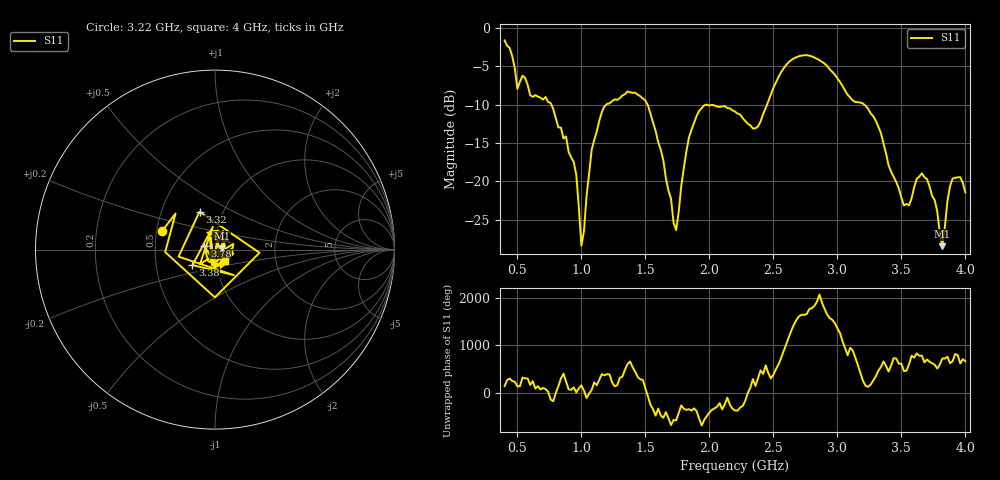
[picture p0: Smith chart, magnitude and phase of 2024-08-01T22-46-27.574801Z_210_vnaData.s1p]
!Created with skrf (http://scikit-rf.org).
# Hz S RI R 50.0
!freq ReS11 ImS11
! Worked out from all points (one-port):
!   181 points, 400 MHz to 4 GHz, reference 50 ohm
!   lowest |S11| = -28.4 dB at 3.82 GHz (marker M1), VSWR 1.08, Z = 53.9 + j0.685 ohm
!   |S11| at or under -10 dB: 1.517 GHz to 1.974 GHz (457.6 MHz wide, 26.2 % of centre); 1.983 GHz to 2.45 GHz (466.3 MHz wide, 21 % of centre); 3.211 GHz to end of sweep (the widest 3 of 4)
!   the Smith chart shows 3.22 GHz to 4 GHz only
!   S11 on the Smith chart (normalised r, x): 3.22 GHz: 0.54, +0.13; 3.32 GHz: 0.77, +0.34; 3.38 GHz: 0.77, -0.14; 3.78 GHz: 0.89, +0.04; 4 GHz: 1.11, -0.14
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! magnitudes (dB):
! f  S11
! 400 MHz  -1.6
! 500 MHz  -7.9
! 720 MHz  -9.0
! 860 MHz  -14.4
! 960 MHz  -19.1
! 1 GHz  -28.4
! 1.1 GHz  -14.6
! 1.18 GHz  -10.2
! 1.3 GHz  -9.1
! 1.52 GHz  -10.1
! 1.72 GHz  -25.4
! 1.76 GHz  -24.0
! 1.84 GHz  -14.3
! 1.92 GHz  -10.8
! 2.2 GHz  -10.9
! 2.38 GHz  -12.8
! 2.66 GHz  -3.9
! 2.9 GHz  -4.6
! 3.1 GHz  -9.0
! 3.22 GHz  -10.1
! 3.32 GHz  -12.8
! 3.38 GHz  -16.3
! 3.56 GHz  -23.1
! 3.66 GHz  -18.9
! 3.78 GHz  -23.9
! 3.82 GHz  -28.4
! 3.9 GHz  -19.6
! 4 GHz  -21.4
